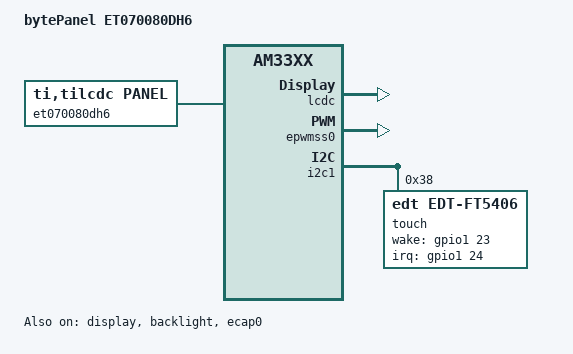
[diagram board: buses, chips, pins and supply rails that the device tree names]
/*
 * Copyright (C) 2015 Bytes at Work - http://www.bytesatwork.ch
 *
 * This program is free software; you can redistribute it and/or modify
 * it under the terms of the GNU General Public License version 2 as
 * published by the Free Software Foundation.
 */
/dts-v1/;

#include "bytepanel.dtsi"

/ {
	model = "bytePanel ET070080DH6";
	compatible = "batw,bytepanel-et070080dh6", "batw,bytepanel", "batw,m2", "ti,am33xx";

	chosen {
		logo = "logo_baw_800x480_clut224";
	};

	et070080dh6 {
		compatible = "ti,tilcdc,panel";
		status = "okay";
		pinctrl-names = "default";
		pinctrl-0 = <&lcd_pins_s0>;

		panel-info {
			ac-bias           = <255>;
			ac-bias-intrpt    = <0>;
			dma-burst-sz      = <16>;
			bpp               = <32>;
			fdd               = <0x80>;
			sync-edge         = <0>;
			sync-ctrl         = <1>;
			raster-order      = <0>;
			fifo-th           = <0>;
		};

		display-timings {
			native-mode = <&timing0>;
			timing0: 800x480 {
				clock-frequency	= <33250000>;	// should be 33260000, workaround for bug: https://patchwork.kernel.org/patch/4133941/
				hactive		= <800>;
				vactive		= <480>;
				hfront-porch	= <1>;
				hback-porch	= <215>;
				hsync-len	= <40>;
				vback-porch	= <35>;
				vfront-porch	= <8>;
				vsync-len	= <2>;
				hsync-active	= <1>;
				vsync-active	= <1>;
			};
		};
	};
};

&am33xx_pinmux {
	// ---- Display ----
	lcd_pins_s0: lcd_pins_s0 {
		pinctrl-single,pins = <
			PIN_LCD_DATA0		(MUX_MODE0 | PIN_OUTPUT)
			PIN_LCD_DATA1		(MUX_MODE0 | PIN_OUTPUT)
			PIN_LCD_DATA2		(MUX_MODE0 | PIN_OUTPUT)
			PIN_LCD_DATA3		(MUX_MODE0 | PIN_OUTPUT)
			PIN_LCD_DATA4		(MUX_MODE0 | PIN_OUTPUT)
			PIN_LCD_DATA5		(MUX_MODE0 | PIN_OUTPUT)
			PIN_LCD_DATA6		(MUX_MODE0 | PIN_OUTPUT)
			PIN_LCD_DATA7		(MUX_MODE0 | PIN_OUTPUT)
			PIN_LCD_DATA8		(MUX_MODE0 | PIN_OUTPUT)
			PIN_LCD_DATA9		(MUX_MODE0 | PIN_OUTPUT)
			PIN_LCD_DATA10		(MUX_MODE0 | PIN_OUTPUT)
			PIN_LCD_DATA11		(MUX_MODE0 | PIN_OUTPUT)
			PIN_LCD_DATA12		(MUX_MODE0 | PIN_OUTPUT)
			PIN_LCD_DATA13		(MUX_MODE0 | PIN_OUTPUT)
			PIN_LCD_DATA14		(MUX_MODE0 | PIN_OUTPUT)
			PIN_LCD_DATA15		(MUX_MODE0 | PIN_OUTPUT)
			PIN_GPMC_AD8		(MUX_MODE1 | PIN_OUTPUT)	// lcd_data16
			PIN_GPMC_AD9		(MUX_MODE1 | PIN_OUTPUT)	// lcd_data17
			PIN_GPMC_AD10		(MUX_MODE1 | PIN_OUTPUT)	// lcd_data18
			PIN_GPMC_AD11		(MUX_MODE1 | PIN_OUTPUT)	// lcd_data19
			PIN_GPMC_AD12		(MUX_MODE1 | PIN_OUTPUT)	// lcd_data20
			PIN_GPMC_AD13		(MUX_MODE1 | PIN_OUTPUT)	// lcd_data21
			PIN_GPMC_AD14		(MUX_MODE1 | PIN_OUTPUT)	// lcd_data22
			PIN_GPMC_AD15		(MUX_MODE1 | PIN_OUTPUT)	// lcd_data23
			PIN_LCD_VSYNC		(MUX_MODE0 | PIN_OUTPUT)
			PIN_LCD_HSYNC		(MUX_MODE0 | PIN_OUTPUT)
			PIN_LCD_PCLK		(MUX_MODE0 | PIN_OUTPUT)
			PIN_LCD_AC_BIAS_EN	(MUX_MODE0 | PIN_OUTPUT)
		>;
	};

	// ---- Touch ----
	touch_pins: pinmux_touch_pins {
		pinctrl-single,pins = <
			PIN_GPMC_A7		(MUX_MODE7 | PIN_OUTPUT)	// gpio1_23 /wake
			PIN_GPMC_A8		(MUX_MODE7 | PIN_INPUT_PULLUP)	// gpio1_24 /int
		>;
	};
};

// ---- Display ----
&lcdc {
	blue-and-red-wiring = "crossed";
	status = "okay";
};

&lcd_data_enable {
	default-state = "on";
};

&display {
	status = "okay";
};

// ---- Backlight ----
&backlight {
	status = "okay";
};

&epwmss0 {
	status = "okay";
};

&ecap0 {
	status = "okay";
};

// ---- Touch ----
&i2c1 {
	touch: edt-ft5406@38 {
		pinctrl-names = "default";
		pinctrl-0 = <&touch_pins>;

		compatible = "edt,edt-ft5406";
		reg = <0x38>;
		interrupt-parent = <&gpio1>;
		interrupts = <24 0>;
		wake-gpios = <&gpio1 23 GPIO_ACTIVE_HIGH>;
	};
};
